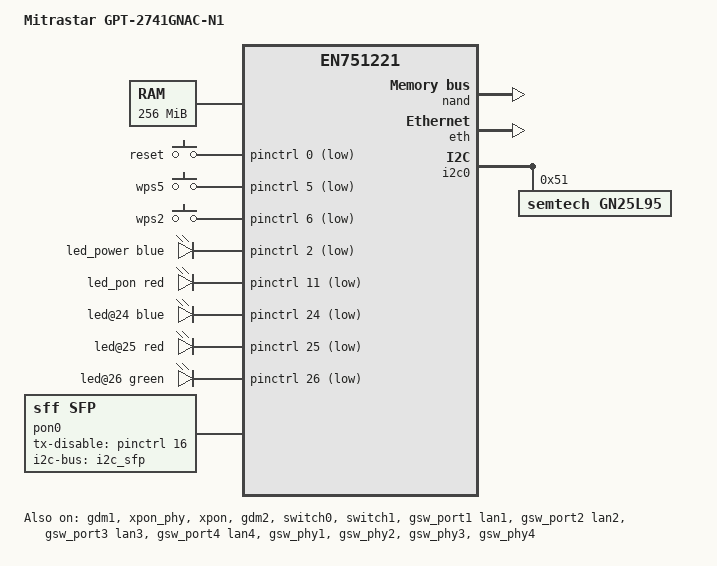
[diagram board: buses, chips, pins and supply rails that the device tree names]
// SPDX-License-Identifier: GPL-2.0
/dts-v1/;

#include "en751221.dtsi"

/ {
	model = "Mitrastar GPT-2741GNAC-N1";
	compatible = "mitrastar,gpt-2741gnac-n1", "econet,en751221";

	chosen {
		stdout-path = "/serial@1fbf0000:115200";
		linux,usable-memory-range = <0x00020000 0x0ffe0000>;
	};

	memory@0 {
		device_type = "memory";
		reg = <0x00000000 0x10000000>;
	};

	/*
	on-off:
	113     7       1       0       0
	112     9       1       0       0
	43      69      1       0       0

	42      16      1       0       1 => xPON LDD/LE

	blink:
	44      69      2       0       1

	NOACT:
	45      69      3       0       0
	*/

	keys {
		compatible = "gpio-keys";

		reset {
			label = "reset";
			linux,code = <KEY_RESTART>;
			gpios = <&pinctrl 0 GPIO_ACTIVE_LOW>;
			debounce-interval = <60>;
		};

		wps5 {
			label = "wps5";
			linux,code = <KEY_WPS_BUTTON>;
			gpios = <&pinctrl 5 GPIO_ACTIVE_LOW>;
			debounce-interval = <60>;
		};

		wps2 {
			label = "wps2";
			linux,code = <KEY_WPS_BUTTON>;
			gpios = <&pinctrl 6 GPIO_ACTIVE_LOW>;
			debounce-interval = <60>;
		};
	};

	/*
	leds for Wireless 2.4ghz and 5ghz is in another gpio
	and for switch is in mdio/gpio
	*/
	leds {
		compatible = "gpio-leds";

		/* Power/Internet */
		led_power: led@2 {
			color = <LED_COLOR_ID_BLUE>;
			function = LED_FUNCTION_STATUS;
			function-enumerator = <2>;
			gpios = <&pinctrl 2 GPIO_ACTIVE_LOW>;
		};

		/* xPON/Internet */
		led_pon: led@11 {
			color = <LED_COLOR_ID_RED>;
			function = LED_FUNCTION_STATUS;
			function-enumerator = <11>;
			gpios = <&pinctrl 11 GPIO_ACTIVE_LOW>;
		};

		/* FXS Blue */
		led@24 {
			color = <LED_COLOR_ID_BLUE>;
			function = LED_FUNCTION_STATUS;
			function-enumerator = <24>;
			gpios = <&pinctrl 24 GPIO_ACTIVE_LOW>;
		};

		/* FXS Red */
		led@25 {
			color = <LED_COLOR_ID_RED>;
			function = LED_FUNCTION_STATUS;
			function-enumerator = <25>;
			gpios = <&pinctrl 25 GPIO_ACTIVE_LOW>;
		};

		/* FXS Green */
		led@26 {
			color = <LED_COLOR_ID_GREEN>;
			function = LED_FUNCTION_STATUS;
			function-enumerator = <26>;
			gpios = <&pinctrl 26 GPIO_ACTIVE_LOW>;
		};
	};

	pon0: pon0 {
		compatible = "sff,sfp";
		i2c-bus = <&i2c_sfp>;

		tx-disable-gpios = <&pinctrl 16 GPIO_ACTIVE_HIGH>;
	};
};

/*

0x000000000000-0x000000020000 : "bootloader"
0x000000020000-0x000000040000 : "romfile"
0x000000040000-0x000003220000 : "Tclinux_main"
0x000001c60c19-0x000001c6804e : "Defcfg_main"
0x000004e3e16f-0x000004e455a4 : "defcfg"
0x000003220000-0x000006400000 : "tclinux"
0x000007520000-0x0000075a0000 : "reservearea"
0x0000075a0000-0x0000075c0000 : "romd"
0x0000075c0000-0x0000075e0000 : "second_romfile"
0x000006420000-0x000006820000 : "data"
0x000006820000-0x000006a20000 : "bosa_main"
0x000006a20000-0x000006c20000 : "bosa_backup"
0x000006c20000-0x000007520000 : "app"
*/

&nand {
	status = "okay";

	partitions {
		compatible = "fixed-partitions";
		#address-cells = <1>;
		#size-cells = <1>;

		/* MAC Address: 0x06D2BB18 */
		partition@0 {
			label = "bootloader";
			reg = <0x000000000000 0x000000020000>;
			read-only;
		};

		partition@20000 {
			label = "romfile";
			reg = <0x000000020000 0x000000020000>;
			read-only;
		};

		partition@40000 {
			label = "Tclinux_main";
			reg = <0x000000040000 0x0000031e0000>;
			read-only;
		};

		partition@1c60c19 {
			label = "Defcfg_main";
			reg = <0x000001c60c19 0x000000007435>;
			read-only;
		};

		partition@4e3e16f {
			label = "defcfg";
			reg = <0x000004e3e16f 0x000000007435>;
			read-only;
		};

		partition@3220000 {
			label = "tclinux";
			reg = <0x000003220000 0x0000031e0000>;
			read-only;
		};

		partition@7520000 {
			label = "reservearea";
			reg = <0x000007520000 0x000000080000>;
			read-only;
		};

		partition@75a0000 {
			label = "romd";
			reg = <0x0000075a0000 0x000000020000>;
			read-only;
		};

		partition@75c0000 {
			label = "second_romfile";
			reg = <0x0000075c0000 0x000000020000>;
			read-only;
		};

		partition@6420000 {
			label = "data";
			reg = <0x000006420000 0x000000400000>;
			read-only;
		};

		partition@6820000 {
			label = "bosa_main";
			reg = <0x000006820000 0x000000200000>;
			read-only;

			// nvmem-layout {
			// 	compatible = "airoha,yaffs2-nvmem";

			// 	bosa_hwconfig: hwconfig {
			// 		file = "hwconfig";
			// 		#nvmem-cell-cells = <1>;
			// 	};

			// 	config {
			// 		file = "config";
			// 		#nvmem-cell-cells = <1>;
			// 	};
			// };
		};

		partition@6a20000 {
			label = "bosa_backup";
			reg = <0x000006a20000 0x000000200000>;
			read-only;
		};

		partition@6c20000 {
			label = "app";
			reg = <0x000006c20000 0x000000900000>;
			read-only;
		};

		partition@75E0000 {
			label = "rest";
			reg = <0x0000075E0000 0x000000000000>;
			read-only;
		};
	};
};

&eth {
	status = "okay";
};

&gdm1 {
	status = "okay";
};

&i2c0 {
	status = "okay";

	gn25l95: optical-frontend@51 {
		compatible = "semtech,gn25l95";
		reg = <0x51>;

		// nvmem-cells = <&bosa_hwconfig>;
		// nvmem-cell-names = "calibration";

		i2c_sfp: i2c-sfp {
			#address-cells = <1>;
			#size-cells = <0>;
		};
	};
};

&xpon_phy {
	status = "okay";
};

&xpon {
	status = "okay";

	airoha,gpon-serial-from-mac;
	omci-vendor-id = "MSTC";

	sfp = <&pon0>;
};

&gdm2 {
	status = "okay";
	phy-mode = "internal";

	// nvmem-cells = <&macaddr 0>;
	// nvmem-cell-names = "mac-address";

	airoha,xpon-managed;
	openwrt,netdev-name = "pon0";
};

&switch0 {
	status = "okay";
};

&switch1 {
	status = "okay";
};

&gsw_port1 {
	label = "lan1";
	status = "okay";
};

&gsw_port2 {
	label = "lan2";
	status = "okay";
};

&gsw_port3 {
	label = "lan3";
	status = "okay";
};

&gsw_port4 {
	label = "lan4";
	status = "okay";
};

&gsw_phy1 {
	status = "okay";
};

&gsw_phy2 {
	status = "okay";
};

&gsw_phy3 {
	status = "okay";
};

&gsw_phy4 {
	status = "okay";
};
